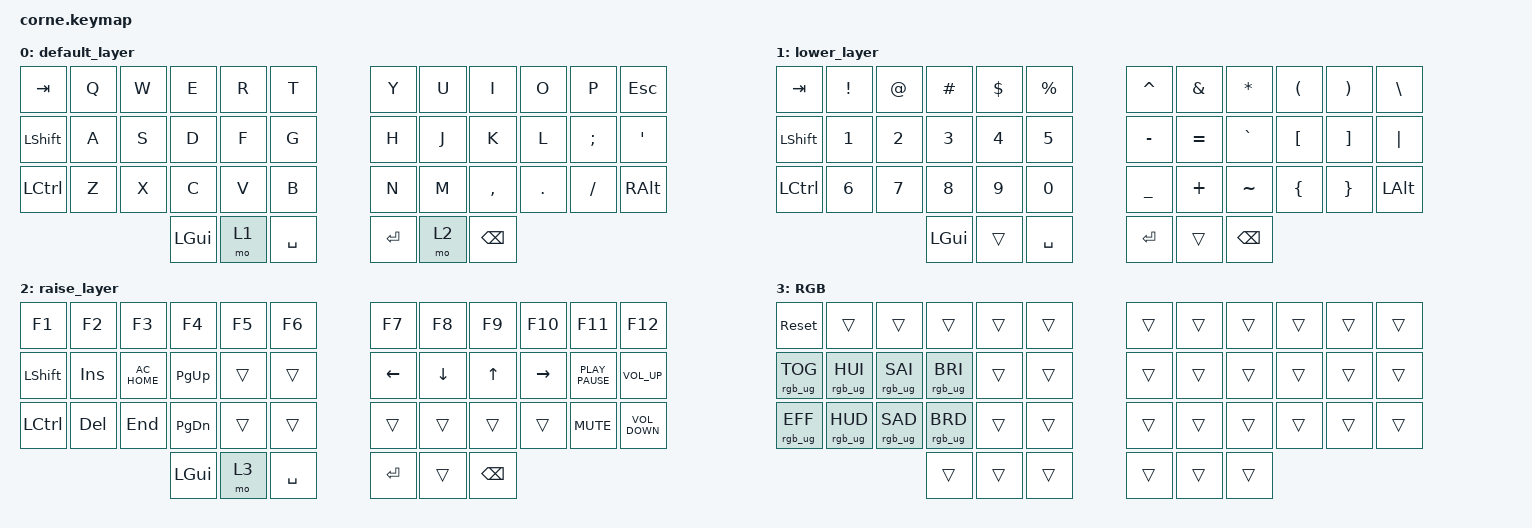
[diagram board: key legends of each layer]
/*
 * Copyright (c) 2020 The ZMK Contributors
 *
 * SPDX-License-Identifier: MIT
 */

#include <behaviors.dtsi>
#include <dt-bindings/zmk/keys.h>
#include <dt-bindings/zmk/rgb.h>

/ {
    keymap {
        compatible = "zmk,keymap";

        default_layer {
            // -----------------------------------------------------------------------------------------
            // |  TAB |  Q  |  W  |  E  |  R  |  T  |   |  Y  |  U   |  I  |  O  |  P  | BKSP |
            // | CTRL |  A  |  S  |  D  |  F  |  G  |   |  H  |  J   |  K  |  L  |  ;  |  '   |
            // | SHFT |  Z  |  X  |  C  |  V  |  B  |   |  N  |  M   |  ,  |  .  |  /  | ESC  |
            //                    | GUI | LWR | SPC |   | ENT | RSE  | ALT |

            bindings = <
&kp TAB           &kp Q  &kp W  &kp E     &kp R  &kp T        &kp Y    &kp U  &kp I          &kp O    &kp P     &kp ESCAPE
&kp LEFT_SHIFT    &kp A  &kp S  &kp D     &kp F  &kp G        &kp H    &kp J  &kp K          &kp L    &kp SEMI  &kp SQT
&kp LEFT_CONTROL  &kp Z  &kp X  &kp C     &kp V  &kp B        &kp N    &kp M  &kp COMMA      &kp DOT  &kp FSLH  &kp RIGHT_ALT
                                &kp LGUI  &mo 1  &kp SPACE    &kp RET  &mo 2  &kp BACKSPACE
            >;
        };

        lower_layer {
            // -----------------------------------------------------------------------------------------
            // |  TAB |  1  |  2  |  3  |  4  |  5  |   |  6  |  7  |  8  |  9  |  0  | BKSP |
            // | BTCLR| BT1 | BT2 | BT3 | BT4 | BT5 |   | LFT | DWN |  UP | RGT |     |      |
            // | SHFT |     |     |     |     |     |   |     |     |     |     |     |      |
            //                    | GUI |     | SPC |   | ENT |     | ALT |

            bindings = <
&kp TAB           &kp EXCLAMATION  &kp AT_SIGN   &kp HASH      &kp DOLLAR    &kp PERCENT     &kp CARET       &kp AMPERSAND  &kp ASTERISK   &kp LEFT_PARENTHESIS  &kp RIGHT_PARENTHESIS  &kp BACKSLASH
&kp LEFT_SHIFT    &kp NUMBER_1     &kp NUMBER_2  &kp NUMBER_3  &kp NUMBER_4  &kp N5          &kp MINUS       &kp EQUAL      &kp GRAVE      &kp LEFT_BRACKET      &kp RIGHT_BRACKET      &kp PIPE
&kp LEFT_CONTROL  &kp NUMBER_6     &kp NUMBER_7  &kp N8        &kp NUMBER_9  &kp NUMBER_0    &kp UNDERSCORE  &kp PLUS       &kp TILDE      &kp LEFT_BRACE        &kp RIGHT_BRACE        &kp LEFT_ALT
                                                 &kp LGUI      &trans        &kp SPACE       &kp RET         &trans         &kp BACKSPACE
            >;
        };

        raise_layer {
            // -----------------------------------------------------------------------------------------
            // |  TAB |  !  |  @  |  #  |  $  |  %  |   |  ^  |  &  |  *  |  (  |  )  | BKSP |
            // | CTRL |     |     |     |     |     |   |  -  |  =  |  [  |  ]  |  \  |  `   |
            // | SHFT |     |     |     |     |     |   |  _  |  +  |  {  |  }  | "|" |  ~   |
            //                    | GUI |     | SPC |   | ENT |     | ALT |

            bindings = <
&kp F1            &kp F2      &kp F3         &kp F4         &kp F5  &kp F6       &kp F7          &kp F8          &kp F9         &kp F10          &kp F11           &kp F12
&kp LEFT_SHIFT    &kp INSERT  &kp C_AC_HOME  &kp PAGE_UP    &trans  &trans       &kp LEFT_ARROW  &kp DOWN_ARROW  &kp UP_ARROW   &kp RIGHT_ARROW  &kp K_PLAY_PAUSE  &kp C_VOLUME_UP
&kp LEFT_CONTROL  &kp DELETE  &kp END        &kp PAGE_DOWN  &trans  &trans       &trans          &trans          &trans         &trans           &kp K_MUTE        &kp C_VOLUME_DOWN
                                             &kp LGUI       &mo 3   &kp SPACE    &kp RET         &trans          &kp BACKSPACE
            >;
        };

        RGB {
            bindings = <
&sys_reset       &trans           &trans           &trans           &trans  &trans    &trans  &trans  &trans  &trans  &trans  &trans
&rgb_ug RGB_TOG  &rgb_ug RGB_HUI  &rgb_ug RGB_SAI  &rgb_ug RGB_BRI  &trans  &trans    &trans  &trans  &trans  &trans  &trans  &trans
&rgb_ug RGB_EFF  &rgb_ug RGB_HUD  &rgb_ug RGB_SAD  &rgb_ug RGB_BRD  &trans  &trans    &trans  &trans  &trans  &trans  &trans  &trans
                                                   &trans           &trans  &trans    &trans  &trans  &trans
            >;
        };
    };
};
